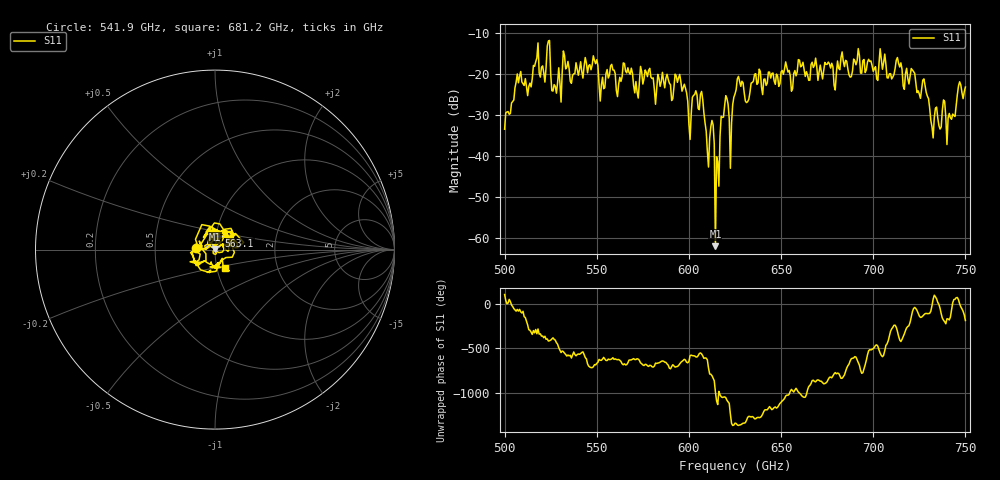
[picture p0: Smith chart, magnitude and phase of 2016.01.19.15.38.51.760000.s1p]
!Created with skrf (http://scikit-rf.org).
# GHz S RI R 50.0
!freq ReS11 ImS11
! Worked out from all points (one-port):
!   401 points, 500 GHz to 750 GHz, reference 50 ohm
!   lowest |S11| = -62.0 dB at 614.4 GHz (marker M1), VSWR 1.00, Z = 50 + j0.0794 ohm
!   |S11| at or under -10 dB: start of sweep to end of sweep
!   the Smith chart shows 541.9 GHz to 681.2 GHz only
!   S11 on the Smith chart (normalised r, x): 541.9 GHz: 0.81, +0.02; 563.1 GHz: 1.03, +0.16; 681.2 GHz: 1.10, -0.22
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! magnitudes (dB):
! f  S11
! 500 GHz  -33.5
! 507.5 GHz  -22.2
! 513.1 GHz  -23.1
! 516.9 GHz  -17.1
! 520.6 GHz  -18.1
! 523.8 GHz  -12.1
! 526.9 GHz  -22.7
! 531.2 GHz  -19.7
! 541.9 GHz  -19.5
! 562.5 GHz  -20.9
! 563.1 GHz  -21.9
! 593.8 GHz  -22.1
! 600 GHz  -32.3
! 607.5 GHz  -26.3
! 610 GHz  -38.9
! 612.5 GHz  -31.4
! 614.4 GHz  -62.0
! 615.6 GHz  -41.4
! 618.8 GHz  -30.6
! 623.1 GHz  -32.1
! 625 GHz  -24.9
! 656.2 GHz  -23.7
! 681.2 GHz  -18.7
! 687.5 GHz  -20.8
! 718.8 GHz  -21.2
! 728.1 GHz  -22.9
! 731.9 GHz  -32.9
! 750 GHz  -23.3
